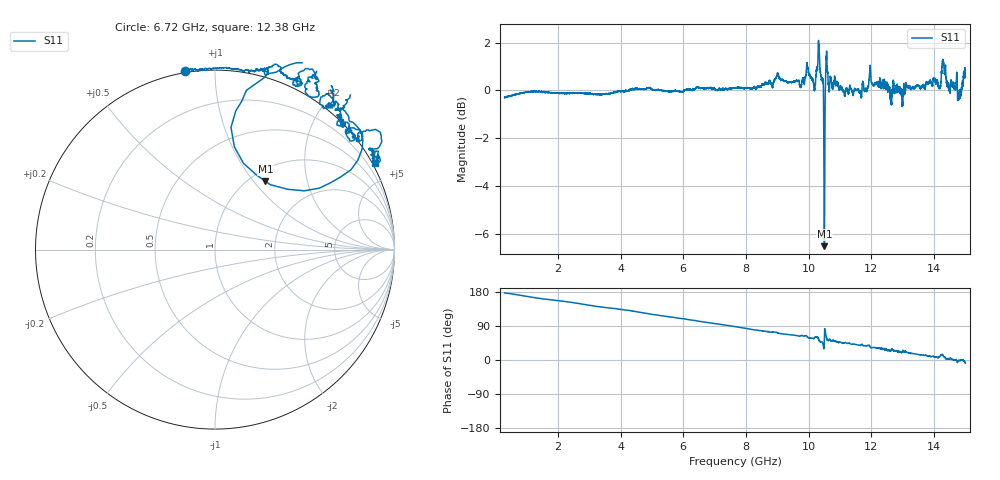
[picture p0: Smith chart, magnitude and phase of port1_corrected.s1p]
! Created with skrf 1.9.0 (http://scikit-rf.org).
# GHz S RI R 50.0
!freq ReS11 ImS11
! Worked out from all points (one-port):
!   12801 points, 300 MHz to 15 GHz, reference 50 ohm
!   lowest |S11| = -6.5 dB at 10.5 GHz (marker M1), VSWR 2.79, Z = 58.7 + j57.4 ohm
!   |S11| at or under -10 dB: nowhere
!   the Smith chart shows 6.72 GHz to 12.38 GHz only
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0.3  -0.9639 0.049
2.1375  -0.8955 0.4115
3.975  -0.6928 0.7186
5.8125  -0.3539 0.9331
7.65  0.0336 1.012
8.978742  0.3163 1.021
9.4875  0.4232 0.9518
9.946875  0.5359 1.006
10.14211  0.5782 0.8748
10.23284  0.5328 0.9384
10.27877  0.5656 0.9472
10.4028  0.7093 0.7859
10.44185  0.7349 0.7594
10.50042  0.2805 0.3801
10.56359  0.5637 1.012
10.59574  0.6405 0.8881
10.64513  0.6373 0.7984
11.325  0.7461 0.6862
11.85328  0.7935 0.6126
12.01291  0.8716 0.5604
12.56761  0.9111 0.4303
13.1625  0.959 0.3413
14.08584  1.036 0.1419
14.265  1.101 0.2887
14.43497  1.023 0.0653
14.81625  1.001 -0.0284
14.90927  1.049 -0.0148
15  1.053 -0.1543
